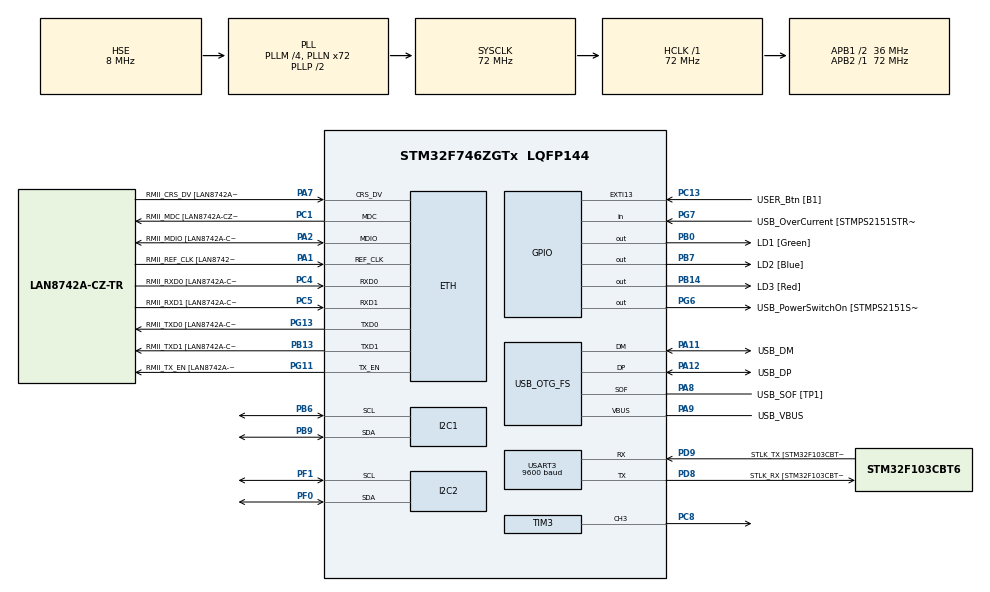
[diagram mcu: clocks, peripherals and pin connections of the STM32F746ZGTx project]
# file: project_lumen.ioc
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ETH.MediaInterface=ETH_MEDIA_INTERFACE_RMII
ETH.PHY_Name=LAN8742A_PHY_ADDRESS
ETH.PHY_Value=0
ETH.PhyAddress=0
I2C1.Timing=0x00808CD2
I2C2.Timing=0x00808CD2
Mcu.Family=STM32F7
Mcu.Name=STM32F746ZGTx
Mcu.Package=LQFP144
NVIC.PriorityGroup=NVIC_PRIORITYGROUP_4
NVIC.TIM4_IRQn=true\:0\:0\:false\:false\:true\:true\:true
NVIC.USART3_IRQn=true\:0\:0\:false\:false\:true\:true\:true
PA1.GPIO_Label=RMII_REF_CLK [LAN8742A-CZ-TR_REFCLK0]
PA1.Mode=RMII
PA1.Signal=ETH_REF_CLK
PA10.GPIO_Label=USB_ID
PA10.Signal=USB_OTG_FS_ID
PA11.GPIO_Label=USB_DM
PA11.Mode=Device_Only
PA11.Signal=USB_OTG_FS_DM
PA12.GPIO_Label=USB_DP
PA12.Mode=Device_Only
PA12.Signal=USB_OTG_FS_DP
PA13.GPIO_Label=TMS
PA13.Mode=Serial_Wire
PA13.Signal=SYS_JTMS-SWDIO
PA14.GPIO_Label=TCK
PA14.Mode=Serial_Wire
PA14.Signal=SYS_JTCK-SWCLK
PA2.GPIO_Label=RMII_MDIO [LAN8742A-CZ-TR_MDIO]
PA2.Mode=RMII
PA2.Signal=ETH_MDIO
PA7.GPIO_Label=RMII_CRS_DV [LAN8742A-CZ-TR_CRS_DV]
PA7.Mode=RMII
PA7.Signal=ETH_CRS_DV
PA8.GPIO_Label=USB_SOF [TP1]
PA8.Mode=Activate_SOF_FS
PA8.Signal=USB_OTG_FS_SOF
PA9.GPIO_Label=USB_VBUS
PA9.Mode=Activate_VBUS
PA9.Signal=USB_OTG_FS_VBUS
PB0.GPIO_Label=LD1 [Green]
PB0.Signal=GPIO_Output
PB13.GPIO_Label=RMII_TXD1 [LAN8742A-CZ-TR_TXD1]
PB13.Mode=RMII
PB13.Signal=ETH_TXD1
PB14.GPIO_Label=LD3 [Red]
PB14.Signal=GPIO_Output
PB3.GPIO_Label=SW0
PB3.Signal=SYS_JTDO-SWO
PB6.Mode=I2C
PB6.Signal=I2C1_SCL
PB7.GPIO_Label=LD2 [Blue]
PB7.Signal=GPIO_Output
PB9.Mode=I2C
PB9.Signal=I2C1_SDA
PC1.GPIO_Label=RMII_MDC [LAN8742A-CZ-TR_MDC]
PC1.Mode=RMII
PC1.Signal=ETH_MDC
PC13.GPIO_Label=USER_Btn [B1]
PC13.Signal=GPXTI13
PC14/OSC32_IN.Mode=LSE-External-Oscillator
PC14/OSC32_IN.Signal=RCC_OSC32_IN
PC15/OSC32_OUT.Mode=LSE-External-Oscillator
PC15/OSC32_OUT.Signal=RCC_OSC32_OUT
PC4.GPIO_Label=RMII_RXD0 [LAN8742A-CZ-TR_RXD0]
PC4.Mode=RMII
PC4.Signal=ETH_RXD0
PC5.GPIO_Label=RMII_RXD1 [LAN8742A-CZ-TR_RXD1]
PC5.Mode=RMII
PC5.Signal=ETH_RXD1
PC8.Signal=S_TIM3_CH3
PD8.GPIO_Label=STLK_RX [STM32F103CBT6_PA3]
PD8.Mode=Asynchronous
PD8.Signal=USART3_TX
PD9.GPIO_Label=STLK_TX [STM32F103CBT6_PA2]
PD9.Mode=Asynchronous
PD9.Signal=USART3_RX
PF0.Mode=I2C
PF0.Signal=I2C2_SDA
PF1.Mode=I2C
PF1.Signal=I2C2_SCL
PG11.GPIO_Label=RMII_TX_EN [LAN8742A-CZ-TR_TXEN]
PG11.Mode=RMII
PG11.Signal=ETH_TX_EN
PG13.GPIO_Label=RMII_TXD0 [LAN8742A-CZ-TR_TXD0]
PG13.Mode=RMII
PG13.Signal=ETH_TXD0
PG6.GPIO_Label=USB_PowerSwitchOn [STMPS2151STR_EN]
PG6.Signal=GPIO_Output
PG7.GPIO_Label=USB_OverCurrent [STMPS2151STR_FAULT]
PG7.Signal=GPIO_Input
PH0/OSC_IN.GPIO_Label=MCO [STM32F103CBT6_PA8]
PH0/OSC_IN.Mode=HSE-External-Clock-Source
PH0/OSC_IN.Signal=RCC_OSC_IN
PH1/OSC_OUT.Mode=HSE-External-Clock-Source
PH1/OSC_OUT.Signal=RCC_OSC_OUT
ProjectManager.HeapSize=0x200
ProjectManager.StackSize=0x400
ProjectManager.TargetToolchain=STM32CubeIDE
RCC.48MHZClocksFreq_Value=24000000
RCC.AHBFreq_Value=72000000
RCC.APB1CLKDivider=RCC_HCLK_DIV2
RCC.APB1Freq_Value=36000000
RCC.APB1TimFreq_Value=72000000
RCC.APB2Freq_Value=72000000
RCC.APB2TimFreq_Value=72000000
RCC.CortexFreq_Value=72000000
RCC.HCLKFreq_Value=72000000
RCC.HSE_VALUE=8000000
RCC.HSI_VALUE=16000000
RCC.PLLM=4
RCC.PLLMUL=RCC_PLL_MUL9
RCC.PLLN=72
RCC.PLLQ=3
RCC.PRESCALERUSB=RCC_USBCLKSOURCE_PLL_DIV1_5
RCC.SYSCLKFreq_VALUE=72000000
RCC.SYSCLKSource=RCC_SYSCLKSOURCE_PLLCLK
RCC.SYSCLKSourceVirtual=RCC_SYSCLKSOURCE_PLLCLK
RCC.USBFreq_Value=48000000
RCC.VCOOutputFreq_Value=144000000
SH.S_TIM3_CH3.0=TIM3_CH3,PWM Generation3 CH3
TIM3.Channel-PWM\ Generation3\ CH3=TIM_CHANNEL_3
TIM3.Period=999
TIM3.Prescaler=71
TIM3.Pulse-PWM\ Generation3\ CH3=120
TIM4.Period=7199
TIM4.Prescaler=9999
USART3.BaudRate=9600
USART3.VirtualMode-Asynchronous=VM_ASYNC
USB_OTG_FS.VirtualMode=Device_Only
VP_TIM4_VS_ClockSourceINT.Mode=Internal
board=NUCLEO-F746ZG

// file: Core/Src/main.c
/* USER CODE BEGIN Header */
/**
  ******************************************************************************
  * @file           : main.c
  * @brief          : Main program body
  ******************************************************************************
  * @attention
  *
  * <h2><center>&copy; Copyright (c) 2020 STMicroelectronics.
  * All rights reserved.</center></h2>
  *
  * This software component is licensed by ST under BSD 3-Clause license,
  * the "License"; You may not use this file except in compliance with the
  * License. You may obtain a copy of the License at:
  *                        opensource.org/licenses/BSD-3-Clause
  *
  ******************************************************************************
  */
/* USER CODE END Header */

#include "main.h"

/* USER CODE BEGIN Includes */
#include "arm_math.h"
#include "bh1750.h"
#include "i2c-lcd.h"
#include "funkcje.h"

/* USER CODE END Includes */

/* USER CODE BEGIN PTD */
int lum = 0; ///< Naterzenie z czujnika
int lum_zad = 20; ///< Naterzenie zadane
int Received[10]; ///< Tablica przechowujaca wartosc zadana otrzymana przez UART

float Kp = 0.27f; ///< wspolczynnik Kp dla regulatora PID
float Kd = 0.001f; ///< wspolczynnik Kd dla regulatora PID
float Ki = 0.08f; ///< wspolczynnik Ki dla regulatora PID
I2C_HandleTypeDef hi2c1;

arm_pid_instance_f32 PID; ///< Regultor PID
/* USER CODE END PTD */

ETH_HandleTypeDef heth;

I2C_HandleTypeDef hi2c1;
I2C_HandleTypeDef hi2c2;

TIM_HandleTypeDef htim3;
TIM_HandleTypeDef htim4;

UART_HandleTypeDef huart3;

PCD_HandleTypeDef hpcd_USB_OTG_FS;

void SystemClock_Config(void);
static void MX_GPIO_Init(void);
static void MX_ETH_Init(void);
static void MX_USART3_UART_Init(void);
static void MX_USB_OTG_FS_PCD_Init(void);
static void MX_I2C1_Init(void);
static void MX_I2C2_Init(void);
static void MX_TIM3_Init(void);
static void MX_TIM4_Init(void);

/* USER CODE BEGIN 0 */

/*!
   Callback na przerwania UART po otrzymaniu wartosci zadanej
 */
void HAL_UART_RxCpltCallback(UART_HandleTypeDef *htim)
{
	//__HAL_TIM_SET_COMPARE(&htim3,TIM_CHANNEL_3, atoi(&Received));
	lum_zad=atoi(&Received);
	HAL_UART_Receive_IT(&huart3, &Received, 3);
}
/*!
 	 Callback na 1 s. taimer ktory ustawia wyswietlacz.
 */
void HAL_TIM_PeriodElapsedCallback(TIM_HandleTypeDef *htim4)
{
	SetLCDValues(lum_zad, lum);
	uint8_t data[10];
	uint16_t size = 0;
	size = sprintf(data, "%d lux", lum);
	HAL_UART_Transmit(&huart3, data, size,100);
}
/* USER CODE END 0 */

int main(void)
{
  /* USER CODE BEGIN 1 */

  /*! Parametry nastawy regulatora PID **/
  PID.Kp=Kp;
  PID.Ki=Ki;
  PID.Kd=Kd;

  /* USER CODE END 1 */

  /* MCU Configuration--------------------------------------------------------*/

  /* Reset of all peripherals, Initializes the Flash interface and the Systick. */
  HAL_Init();

  /* Configure the system clock */
  SystemClock_Config();

  /* Initialize all configured peripherals */
  MX_GPIO_Init();
  MX_ETH_Init();
  MX_USART3_UART_Init();
  MX_USB_OTG_FS_PCD_Init();
  MX_I2C1_Init();
  MX_I2C2_Init();
  MX_TIM3_Init();
  MX_TIM4_Init();
  /* USER CODE BEGIN 2 */
  HAL_TIM_Base_Init(&htim3);
  HAL_TIM_Base_Start_IT(&htim4);
  HAL_TIM_PWM_Start(&htim3,TIM_CHANNEL_3);
  HAL_UART_Receive_IT(&huart3, &Received, 3);

  lcd_init (); //! inicjalizacja wyswietlacza
  BH1750_Init(&hi2c2); //! inicjalizacja czujnika
  BH1750_SetMode(CONTINUOUS_HIGH_RES_MODE); //! wybor trybu pomiarowego
  arm_pid_init_f32(&PID, 1); //! inicjalizacja PIDa
  /* USER CODE END 2 */

  /* Infinite loop */
  while (1)
  {

    /* USER CODE BEGIN 3 */
	  ReadIntegerLight(&lum); //! pomiar naterzenia swiatla
	  SetPWM(lum_zad, lum, &PID,&htim3); //! regulacja
	  HAL_Delay(150);
  }
  /* USER CODE END 3 */
}

void SystemClock_Config(void)
{
  RCC_OscInitTypeDef RCC_OscInitStruct = {0};
  RCC_ClkInitTypeDef RCC_ClkInitStruct = {0};
  RCC_PeriphCLKInitTypeDef PeriphClkInitStruct = {0};

  /** Configure LSE Drive Capability
  */
  HAL_PWR_EnableBkUpAccess();
  /** Configure the main internal regulator output voltage
  */
  __HAL_RCC_PWR_CLK_ENABLE();
  __HAL_PWR_VOLTAGESCALING_CONFIG(PWR_REGULATOR_VOLTAGE_SCALE3);
  /** Initializes the CPU, AHB and APB busses clocks
  */
  RCC_OscInitStruct.OscillatorType = RCC_OSCILLATORTYPE_HSE;
  RCC_OscInitStruct.HSEState = RCC_HSE_BYPASS;
  RCC_OscInitStruct.PLL.PLLState = RCC_PLL_ON;
  RCC_OscInitStruct.PLL.PLLSource = RCC_PLLSOURCE_HSE;
  RCC_OscInitStruct.PLL.PLLM = 4;
  RCC_OscInitStruct.PLL.PLLN = 72;
  RCC_OscInitStruct.PLL.PLLP = RCC_PLLP_DIV2;
  RCC_OscInitStruct.PLL.PLLQ = 3;
  if (HAL_RCC_OscConfig(&RCC_OscInitStruct) != HAL_OK)
  {
    Error_Handler();
  }
  /** Initializes the CPU, AHB and APB busses clocks
  */
  RCC_ClkInitStruct.ClockType = RCC_CLOCKTYPE_HCLK|RCC_CLOCKTYPE_SYSCLK
                              |RCC_CLOCKTYPE_PCLK1|RCC_CLOCKTYPE_PCLK2;
  RCC_ClkInitStruct.SYSCLKSource = RCC_SYSCLKSOURCE_PLLCLK;
  RCC_ClkInitStruct.AHBCLKDivider = RCC_SYSCLK_DIV1;
  RCC_ClkInitStruct.APB1CLKDivider = RCC_HCLK_DIV2;
  RCC_ClkInitStruct.APB2CLKDivider = RCC_HCLK_DIV1;

  if (HAL_RCC_ClockConfig(&RCC_ClkInitStruct, FLASH_LATENCY_2) != HAL_OK)
  {
    Error_Handler();
  }
  PeriphClkInitStruct.PeriphClockSelection = RCC_PERIPHCLK_USART3|RCC_PERIPHCLK_I2C1
                              |RCC_PERIPHCLK_I2C2|RCC_PERIPHCLK_CLK48;
  PeriphClkInitStruct.Usart3ClockSelection = RCC_USART3CLKSOURCE_PCLK1;
  PeriphClkInitStruct.I2c1ClockSelection = RCC_I2C1CLKSOURCE_PCLK1;
  PeriphClkInitStruct.I2c2ClockSelection = RCC_I2C2CLKSOURCE_PCLK1;
  PeriphClkInitStruct.Clk48ClockSelection = RCC_CLK48SOURCE_PLL;
  if (HAL_RCCEx_PeriphCLKConfig(&PeriphClkInitStruct) != HAL_OK)
  {
    Error_Handler();
  }
}

static void MX_ETH_Init(void)
{

  heth.Instance = ETH;
  heth.Init.AutoNegotiation = ETH_AUTONEGOTIATION_ENABLE;
  heth.Init.PhyAddress = LAN8742A_PHY_ADDRESS;
  heth.Init.MACAddr[0] =   0x00;
  heth.Init.MACAddr[1] =   0x80;
  heth.Init.MACAddr[2] =   0xE1;
  heth.Init.MACAddr[3] =   0x00;
  heth.Init.MACAddr[4] =   0x00;
  heth.Init.MACAddr[5] =   0x00;
  heth.Init.RxMode = ETH_RXPOLLING_MODE;
  heth.Init.ChecksumMode = ETH_CHECKSUM_BY_HARDWARE;
  heth.Init.MediaInterface = ETH_MEDIA_INTERFACE_RMII;

  if (HAL_ETH_Init(&heth) != HAL_OK)
  {
    Error_Handler();
  }

}

static void MX_I2C1_Init(void)
{

  hi2c1.Instance = I2C1;
  hi2c1.Init.Timing = 0x00808CD2;
  hi2c1.Init.OwnAddress1 = 0;
  hi2c1.Init.AddressingMode = I2C_ADDRESSINGMODE_7BIT;
  hi2c1.Init.DualAddressMode = I2C_DUALADDRESS_DISABLE;
  hi2c1.Init.OwnAddress2 = 0;
  hi2c1.Init.OwnAddress2Masks = I2C_OA2_NOMASK;
  hi2c1.Init.GeneralCallMode = I2C_GENERALCALL_DISABLE;
  hi2c1.Init.NoStretchMode = I2C_NOSTRETCH_DISABLE;
  if (HAL_I2C_Init(&hi2c1) != HAL_OK)
  {
    Error_Handler();
  }
  /** Configure Analogue filter
  */
  if (HAL_I2CEx_ConfigAnalogFilter(&hi2c1, I2C_ANALOGFILTER_ENABLE) != HAL_OK)
  {
    Error_Handler();
  }
  /** Configure Digital filter
  */
  if (HAL_I2CEx_ConfigDigitalFilter(&hi2c1, 0) != HAL_OK)
  {
    Error_Handler();
  }

}

static void MX_I2C2_Init(void)
{

  hi2c2.Instance = I2C2;
  hi2c2.Init.Timing = 0x00808CD2;
  hi2c2.Init.OwnAddress1 = 0;
  hi2c2.Init.AddressingMode = I2C_ADDRESSINGMODE_7BIT;
  hi2c2.Init.DualAddressMode = I2C_DUALADDRESS_DISABLE;
  hi2c2.Init.OwnAddress2 = 0;
  hi2c2.Init.OwnAddress2Masks = I2C_OA2_NOMASK;
  hi2c2.Init.GeneralCallMode = I2C_GENERALCALL_DISABLE;
  hi2c2.Init.NoStretchMode = I2C_NOSTRETCH_DISABLE;
  if (HAL_I2C_Init(&hi2c2) != HAL_OK)
  {
    Error_Handler();
  }
  /** Configure Analogue filter
  */
  if (HAL_I2CEx_ConfigAnalogFilter(&hi2c2, I2C_ANALOGFILTER_ENABLE) != HAL_OK)
  {
    Error_Handler();
  }
  /** Configure Digital filter
  */
  if (HAL_I2CEx_ConfigDigitalFilter(&hi2c2, 0) != HAL_OK)
  {
    Error_Handler();
  }

}

static void MX_TIM3_Init(void)
{

  TIM_MasterConfigTypeDef sMasterConfig = {0};
  TIM_OC_InitTypeDef sConfigOC = {0};

  htim3.Instance = TIM3;
  htim3.Init.Prescaler = 71;
  htim3.Init.CounterMode = TIM_COUNTERMODE_UP;
  htim3.Init.Period = 999;
  htim3.Init.ClockDivision = TIM_CLOCKDIVISION_DIV1;
  htim3.Init.AutoReloadPreload = TIM_AUTORELOAD_PRELOAD_DISABLE;
  if (HAL_TIM_PWM_Init(&htim3) != HAL_OK)
  {
    Error_Handler();
  }
  sMasterConfig.MasterOutputTrigger = TIM_TRGO_RESET;
  sMasterConfig.MasterSlaveMode = TIM_MASTERSLAVEMODE_DISABLE;
  if (HAL_TIMEx_MasterConfigSynchronization(&htim3, &sMasterConfig) != HAL_OK)
  {
    Error_Handler();
  }
  sConfigOC.OCMode = TIM_OCMODE_PWM1;
  sConfigOC.Pulse = 120;
  sConfigOC.OCPolarity = TIM_OCPOLARITY_HIGH;
  sConfigOC.OCFastMode = TIM_OCFAST_DISABLE;
  if (HAL_TIM_PWM_ConfigChannel(&htim3, &sConfigOC, TIM_CHANNEL_3) != HAL_OK)
  {
    Error_Handler();
  }
  HAL_TIM_MspPostInit(&htim3);

}

static void MX_TIM4_Init(void)
{

  TIM_ClockConfigTypeDef sClockSourceConfig = {0};
  TIM_MasterConfigTypeDef sMasterConfig = {0};

  htim4.Instance = TIM4;
  htim4.Init.Prescaler = 9999;
  htim4.Init.CounterMode = TIM_COUNTERMODE_UP;
  htim4.Init.Period = 7199;
  htim4.Init.ClockDivision = TIM_CLOCKDIVISION_DIV1;
  htim4.Init.AutoReloadPreload = TIM_AUTORELOAD_PRELOAD_DISABLE;
  if (HAL_TIM_Base_Init(&htim4) != HAL_OK)
  {
    Error_Handler();
  }
  sClockSourceConfig.ClockSource = TIM_CLOCKSOURCE_INTERNAL;
  if (HAL_TIM_ConfigClockSource(&htim4, &sClockSourceConfig) != HAL_OK)
  {
    Error_Handler();
  }
  sMasterConfig.MasterOutputTrigger = TIM_TRGO_RESET;
  sMasterConfig.MasterSlaveMode = TIM_MASTERSLAVEMODE_DISABLE;
  if (HAL_TIMEx_MasterConfigSynchronization(&htim4, &sMasterConfig) != HAL_OK)
  {
    Error_Handler();
  }

}

static void MX_USART3_UART_Init(void)
{

  huart3.Instance = USART3;
  huart3.Init.BaudRate = 9600;
  huart3.Init.WordLength = UART_WORDLENGTH_8B;
  huart3.Init.StopBits = UART_STOPBITS_1;
  huart3.Init.Parity = UART_PARITY_NONE;
  huart3.Init.Mode = UART_MODE_TX_RX;
  huart3.Init.HwFlowCtl = UART_HWCONTROL_NONE;
  huart3.Init.OverSampling = UART_OVERSAMPLING_16;
  huart3.Init.OneBitSampling = UART_ONE_BIT_SAMPLE_DISABLE;
  huart3.AdvancedInit.AdvFeatureInit = UART_ADVFEATURE_NO_INIT;
  if (HAL_UART_Init(&huart3) != HAL_OK)
  {
    Error_Handler();
  }

}

static void MX_USB_OTG_FS_PCD_Init(void)
{

  hpcd_USB_OTG_FS.Instance = USB_OTG_FS;
  hpcd_USB_OTG_FS.Init.dev_endpoints = 6;
  hpcd_USB_OTG_FS.Init.speed = PCD_SPEED_FULL;
  hpcd_USB_OTG_FS.Init.dma_enable = DISABLE;
  hpcd_USB_OTG_FS.Init.phy_itface = PCD_PHY_EMBEDDED;
  hpcd_USB_OTG_FS.Init.Sof_enable = ENABLE;
  hpcd_USB_OTG_FS.Init.low_power_enable = DISABLE;
  hpcd_USB_OTG_FS.Init.lpm_enable = DISABLE;
  hpcd_USB_OTG_FS.Init.vbus_sensing_enable = ENABLE;
  hpcd_USB_OTG_FS.Init.use_dedicated_ep1 = DISABLE;
  if (HAL_PCD_Init(&hpcd_USB_OTG_FS) != HAL_OK)
  {
    Error_Handler();
  }

}

static void MX_GPIO_Init(void)
{
  GPIO_InitTypeDef GPIO_InitStruct = {0};

  /* GPIO Ports Clock Enable */
  __HAL_RCC_GPIOC_CLK_ENABLE();
  __HAL_RCC_GPIOF_CLK_ENABLE();
  __HAL_RCC_GPIOH_CLK_ENABLE();
  __HAL_RCC_GPIOA_CLK_ENABLE();
  __HAL_RCC_GPIOB_CLK_ENABLE();
  __HAL_RCC_GPIOD_CLK_ENABLE();
  __HAL_RCC_GPIOG_CLK_ENABLE();

  /*Configure GPIO pin Output Level */
  HAL_GPIO_WritePin(GPIOB, LD1_Pin|LD3_Pin|LD2_Pin, GPIO_PIN_RESET);

  /*Configure GPIO pin Output Level */
  HAL_GPIO_WritePin(USB_PowerSwitchOn_GPIO_Port, USB_PowerSwitchOn_Pin, GPIO_PIN_RESET);

  /*Configure GPIO pin : USER_Btn_Pin */
  GPIO_InitStruct.Pin = USER_Btn_Pin;
  GPIO_InitStruct.Mode = GPIO_MODE_IT_RISING;
  GPIO_InitStruct.Pull = GPIO_NOPULL;
  HAL_GPIO_Init(USER_Btn_GPIO_Port, &GPIO_InitStruct);

  /*Configure GPIO pins : LD1_Pin LD3_Pin LD2_Pin */
  GPIO_InitStruct.Pin = LD1_Pin|LD3_Pin|LD2_Pin;
  GPIO_InitStruct.Mode = GPIO_MODE_OUTPUT_PP;
  GPIO_InitStruct.Pull = GPIO_NOPULL;
  GPIO_InitStruct.Speed = GPIO_SPEED_FREQ_LOW;
  HAL_GPIO_Init(GPIOB, &GPIO_InitStruct);

  /*Configure GPIO pin : USB_PowerSwitchOn_Pin */
  GPIO_InitStruct.Pin = USB_PowerSwitchOn_Pin;
  GPIO_InitStruct.Mode = GPIO_MODE_OUTPUT_PP;
  GPIO_InitStruct.Pull = GPIO_NOPULL;
  GPIO_InitStruct.Speed = GPIO_SPEED_FREQ_LOW;
  HAL_GPIO_Init(USB_PowerSwitchOn_GPIO_Port, &GPIO_InitStruct);

  /*Configure GPIO pin : USB_OverCurrent_Pin */
  GPIO_InitStruct.Pin = USB_OverCurrent_Pin;
  GPIO_InitStruct.Mode = GPIO_MODE_INPUT;
  GPIO_InitStruct.Pull = GPIO_NOPULL;
  HAL_GPIO_Init(USB_OverCurrent_GPIO_Port, &GPIO_InitStruct);

}

void Error_Handler(void)
{
}

/************************ (C) COPYRIGHT STMicroelectronics *****END OF FILE****/
